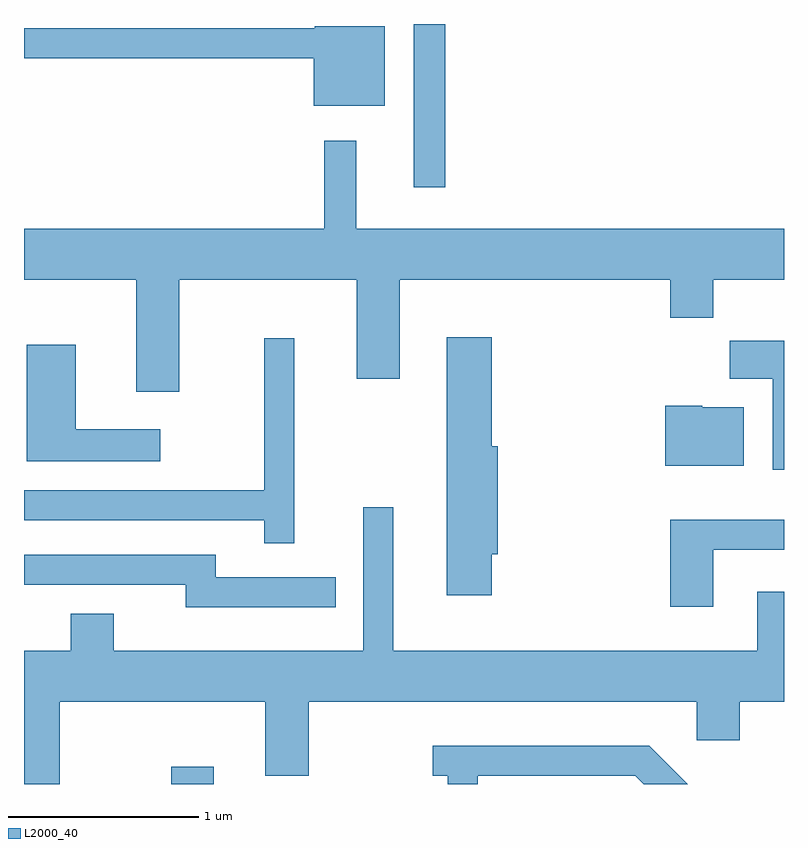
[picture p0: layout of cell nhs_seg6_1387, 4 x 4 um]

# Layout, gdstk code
import gdstk
lib = gdstk.Library(unit=1e-6, precision=1e-09)
def R(c, l, rs):  # rectangles x0, y0, x1, y1
    for r in rs: c.add(gdstk.rectangle(r[:2], r[2:], *l))
def P(c, l, *ps):  # polygons
    for p in ps: c.add(gdstk.Polygon(p, *l))
L2000_40 = (2000, 40)

nhs_seg6_1387 = lib.new_cell('nhs_seg6_1387')
R(nhs_seg6_1387, L2000_40, [(226.386,1656.162,226.609,1656.254), (227.661,1659.303,227.829,1660.162)])
P(nhs_seg6_1387, L2000_40, [(227.509,1660.149),(227.14,1660.149),(227.14,1660.139),(225.611,1660.139),(225.611,1659.981),(227.136,1659.981),(227.136,1659.731),(227.509,1659.731)],
  [(226.429,1658.816),(227.361,1658.816),(227.361,1658.296),(227.589,1658.296),(227.589,1658.816),(229.011,1658.816),(229.011,1658.616),(229.239,1658.616),(229.239,1658.816),(229.611,1658.816),(229.611,1659.084),(227.359,1659.084),(227.359,1659.548),(227.191,1659.548),(227.191,1659.084),(225.611,1659.084),(225.611,1658.816),(226.201,1658.816),(226.201,1658.226),(226.429,1658.226)],
  [(228.074,1657.371),(228.104,1657.371),(228.104,1657.939),(228.074,1657.939),(228.074,1658.514),(227.836,1658.514),(227.836,1657.156),(228.074,1657.156)],
  [(227.034,1658.508),(226.876,1658.508),(226.876,1657.709),(225.611,1657.709),(225.611,1657.551),(226.876,1657.551),(226.876,1657.428),(227.034,1657.428)],
  [(229.611,1658.494),(229.326,1658.494),(229.326,1658.296),(229.551,1658.296),(229.551,1657.816),(229.611,1657.816)],
  [(226.328,1658.029),(225.884,1658.029),(225.884,1658.474),(225.626,1658.474),(225.626,1657.861),(226.328,1657.861)],
  [(229.399,1658.144),(229.18,1658.144),(229.18,1658.154),(228.986,1658.154),(228.986,1657.836),(229.399,1657.836)],
  [(225.799,1656.596),(226.881,1656.596),(226.881,1656.206),(227.109,1656.206),(227.109,1656.596),(229.151,1656.596),(229.151,1656.391),(229.379,1656.391),(229.379,1656.596),(229.611,1656.596),(229.611,1657.174),(229.471,1657.174),(229.471,1656.864),(227.554,1656.864),(227.554,1657.618),(227.396,1657.618),(227.396,1656.864),(226.084,1656.864),(226.084,1657.059),(225.856,1657.059),(225.856,1656.864),(225.611,1656.864),(225.611,1656.162),(225.799,1656.162)],
  [(229.239,1657.396),(229.611,1657.396),(229.611,1657.554),(229.011,1657.554),(229.011,1657.096),(229.239,1657.096)],
  [(227.253,1657.249),(226.619,1657.249),(226.619,1657.369),(225.611,1657.369),(225.611,1657.211),(226.461,1657.211),(226.461,1657.091),(227.253,1657.091)],
  [(227.999,1656.206),(228.829,1656.206),(228.873,1656.162),(229.104,1656.162),(228.902,1656.364),(227.763,1656.364),(227.763,1656.206),(227.841,1656.206),(227.841,1656.162),(227.999,1656.162)])

lib.write_gds('nhs_seg6_1387.gds')
